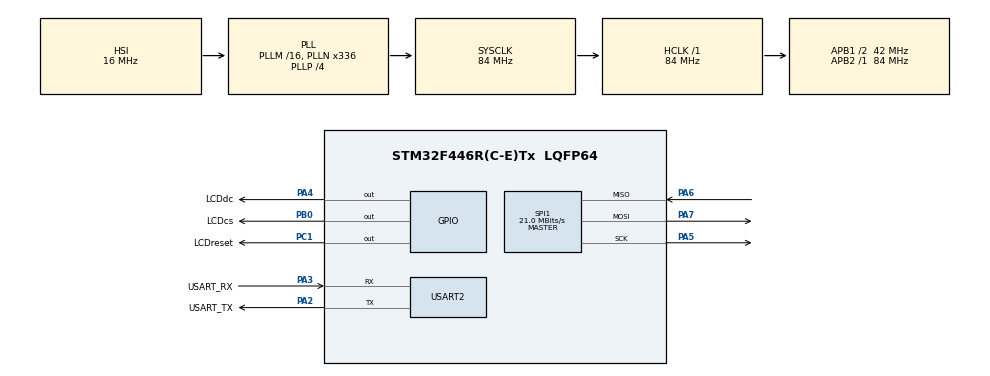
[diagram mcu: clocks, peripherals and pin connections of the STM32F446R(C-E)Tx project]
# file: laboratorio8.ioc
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Mcu.Family=STM32F4
Mcu.Name=STM32F446R(C-E)Tx
Mcu.Package=LQFP64
NVIC.PriorityGroup=NVIC_PRIORITYGROUP_0
PA13.GPIO_Label=TMS
PA13.Signal=SYS_JTMS-SWDIO
PA14.GPIO_Label=TCK
PA14.Signal=SYS_JTCK-SWCLK
PA2.GPIO_Label=USART_TX
PA2.Mode=Asynchronous
PA2.Signal=USART2_TX
PA3.GPIO_Label=USART_RX
PA3.Mode=Asynchronous
PA3.Signal=USART2_RX
PA4.GPIO_Label=LCDdc
PA4.Signal=GPIO_Output
PA5.Mode=Full_Duplex_Master
PA5.Signal=SPI1_SCK
PA6.Mode=Full_Duplex_Master
PA6.Signal=SPI1_MISO
PA7.Mode=Full_Duplex_Master
PA7.Signal=SPI1_MOSI
PB0.GPIO_Label=LCDcs
PB0.Signal=GPIO_Output
PB3.GPIO_Label=SWO
PB3.Signal=SYS_JTDO-SWO
PC1.GPIO_Label=LCDreset
PC1.Signal=GPIO_Output
PC14-OSC32_IN.Signal=RCC_OSC32_IN
PC15-OSC32_OUT.Signal=RCC_OSC32_OUT
PH0-OSC_IN.Signal=RCC_OSC_IN
PH1-OSC_OUT.Signal=RCC_OSC_OUT
ProjectManager.HeapSize=0x200
ProjectManager.StackSize=0x400
ProjectManager.TargetToolchain=STM32CubeIDE
RCC.AHBFreq_Value=84000000
RCC.APB1CLKDivider=RCC_HCLK_DIV2
RCC.APB1Freq_Value=42000000
RCC.APB1TimFreq_Value=84000000
RCC.APB2Freq_Value=84000000
RCC.APB2TimFreq_Value=84000000
RCC.CortexFreq_Value=84000000
RCC.FLatency-AdvancedSettings=FLASH_LATENCY_2
RCC.HCLKFreq_Value=84000000
RCC.HSE_VALUE=8000000
RCC.HSI_VALUE=16000000
RCC.LSE_VALUE=32768
RCC.PLLN=336
RCC.PLLP=RCC_PLLP_DIV4
RCC.SYSCLKFreq_VALUE=84000000
RCC.SYSCLKSource=RCC_SYSCLKSOURCE_PLLCLK
RCC.USBFreq_Value=168000000
RCC.VCOOutputFreq_Value=336000000
SPI1.BaudRatePrescaler=SPI_BAUDRATEPRESCALER_4
SPI1.CalculateBaudRate=21.0 MBits/s
SPI1.Direction=SPI_DIRECTION_2LINES
SPI1.Mode=SPI_MODE_MASTER
SPI1.VirtualType=VM_MASTER
USART2.VirtualMode=VM_ASYNC
board=NUCLEO-F446RE

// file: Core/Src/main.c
/* USER CODE BEGIN Header */
/**
  ******************************************************************************
  * @file           : main.c
  * @brief          : Lab 8 - Pantalla TFT ILI9341 (SPI) - Termometro / EOG / Ritmo cardiaco
  ******************************************************************************
  */
/* USER CODE END Header */
#include "main.h"

/* USER CODE BEGIN Includes */
#include "ili9341.h"
#include <stdio.h>
/* USER CODE END Includes */

/* USER CODE BEGIN PD */
/* Que pantalla mostrar: 0 = ciclo automatico de las 3, 1 = termometro, 2 = EOG, 3 = ritmo cardiaco */
#define UI_MODE 0
/* USER CODE END PD */

SPI_HandleTypeDef hspi1;

UART_HandleTypeDef huart2;

/* USER CODE BEGIN PV */
/* Bitmaps 16x16 1bpp (bit15 = columna izquierda) */
static const uint16_t bmp_heart[16] = {
  0x0000,0x0C30,0x1E78,0x3FFC,0x7FFE,0x7FFE,0x7FFE,0x7FFE,
  0x3FFC,0x1FF8,0x0FF0,0x07E0,0x03C0,0x0180,0x0000,0x0000
};
static const uint16_t bmp_thermo[16] = {
  0x0180,0x03C0,0x03C0,0x03C0,0x03C0,0x03C0,0x03C0,0x03C0,
  0x03C0,0x03C0,0x07E0,0x0FF0,0x0FF0,0x0FF0,0x07E0,0x03C0
};
static const uint16_t bmp_eye[16] = {
  0x0000,0x0000,0x07E0,0x0FF0,0x1FF8,0x3E7C,0x7C3E,0xF81F,
  0xF81F,0x7C3E,0x3E7C,0x1FF8,0x0FF0,0x07E0,0x0000,0x0000
};

/* Un latido PQRST: 38 muestras de 2 px (desplazamiento vertical respecto a la linea base) */
static const int8_t ecg_beat[38] = {
  0,0,0,0,-3,-6,-6,-3,0,0,0,
  4,-30,-44,12,0,0,0,0,0,
  -3,-6,-9,-11,-11,-9,-6,-3,0,0,0,0,0,0,0,0,0,0
};
/* USER CODE END PV */

void SystemClock_Config(void);
static void MX_GPIO_Init(void);
static void MX_SPI1_Init(void);
static void MX_USART2_UART_Init(void);
/* USER CODE BEGIN PFP */
static void Draw_Thermometer(uint16_t t10);              /* t10 = temperatura x10 (368 = 36.8 C) */
static void Draw_EOG(uint16_t ppm, uint8_t comprension);
static void Draw_HeartRate(uint16_t bpm);
/* USER CODE END PFP */

/* USER CODE BEGIN 0 */

/* Texto centrado horizontalmente en [x, x+w) */
static void text_centered(uint16_t x, uint16_t w, uint16_t y, const char *s, uint8_t sc, uint16_t fg, uint16_t bg)
{
    uint16_t tw = ILI9341_StringWidth(s, sc) - sc;
    ILI9341_DrawString(x + (w - tw) / 2, y, s, sc, fg, bg);
}

/* Segmento vertical de 2 px de ancho entre dos alturas (para dibujar ondas) */
static void plot_sample(uint16_t x, int16_t y0, int16_t y1, uint16_t col)
{
    int16_t a = (y0 < y1) ? y0 : y1;
    int16_t b = (y0 < y1) ? y1 : y0;
    ILI9341_FillRect(x, a, 2, b - a + 2, col);
}

/* Cuadricula de fondo para las zonas de ondas */
static void draw_grid(uint16_t x, uint16_t y, uint16_t w, uint16_t h, uint16_t col)
{
    for (uint16_t gx = x + 20; gx < x + w; gx += 20) ILI9341_FillRect(gx, y, 1, h, col);
    for (uint16_t gy = y + 20; gy < y + h; gy += 20) ILI9341_FillRect(x, gy, w, 1, col);
}

/* ===================== 1) TERMOMETRO DIGITAL ===================== */
#define TEMP_X(t10)  (16 + (((int32_t)(t10) - 340) * 288) / 80)   /* 34.0..42.0 C -> x 16..304 */

static void Draw_Thermometer(uint16_t t10)
{
    char buf[12];
    const uint16_t TEAL   = RGB565(0, 150, 136);
    const uint16_t PANEL  = RGB565(0, 40, 50);
    const uint16_t ORANGE = RGB565(255, 90, 40);

    if (t10 < 340) t10 = 340;
    if (t10 > 420) t10 = 420;

    ILI9341_FillScreen(COL_BG);

    /* Barra de titulo */
    ILI9341_FillRect(8, 8, 304, 36, TEAL);
    ILI9341_DrawBitmap1bpp16(16, 14, bmp_thermo, 2, COL_WHITE);
    ILI9341_DrawString(62, 16, "TERMOMETRO", 3, COL_WHITE, TEAL);

    /* ---- Panel izquierdo: termometro vertical ---- */
    ILI9341_FillRect(8, 54, 90, 130, PANEL);
    ILI9341_DrawRoundRect(8, 54, 90, 130, 3, TEAL);
    ILI9341_FillRect(43, 60, 24, 76, COL_WHITE);          /* tubo */
    ILI9341_FillRect(46, 63, 18, 70, 0x2104);             /* interior del tubo */
    ILI9341_FillRect(33, 136, 44, 40, COL_WHITE);         /* bulbo */
    ILI9341_FillRect(36, 139, 38, 34, ORANGE);
    uint16_t h = ((uint32_t)(t10 - 340) * 70) / 80;       /* altura del liquido */
    ILI9341_FillRect(46, 133 - h, 18, h + 8, ORANGE);     /* liquido + union con el bulbo */
    /* marcas de escala 35, 37, 39, 41 */
    for (uint8_t i = 0; i < 4; i++) {
        uint8_t deg = 35 + i * 2;
        uint16_t ty = 133 - ((deg - 34) * 35) / 4;        /* 8.75 px por grado */
        ILI9341_FillRect(70, ty, 8, 2, COL_WHITE);
        sprintf(buf, "%u", deg);
        ILI9341_DrawString(80, ty - 3, buf, 1, COL_WHITE, PANEL);
    }

    /* ---- Panel derecho: valor ---- */
    ILI9341_FillRect(106, 54, 206, 130, PANEL);
    ILI9341_DrawRoundRect(106, 54, 206, 130, 3, TEAL);
    ILI9341_DrawString(116, 64, "TEMPERATURA", 2, TEAL, PANEL);
    sprintf(buf, "%u.%u", t10 / 10, t10 % 10);
    ILI9341_DrawString(116, 92, buf, 6, COL_WHITE, PANEL);
    ILI9341_DrawRect(264, 98, 8, 8, 2, COL_WHITE);        /* simbolo de grado */
    ILI9341_DrawString(276, 100, "C", 4, COL_WHITE, PANEL);

    /* Estado segun el valor */
    const char *txt; uint16_t col;
    if      (t10 < 361) { txt = "BAJA";    col = COL_CYAN;   }
    else if (t10 < 373) { txt = "NORMAL";  col = COL_GREEN;  }
    else if (t10 < 380) { txt = "ELEVADA"; col = COL_YELLOW; }
    else                { txt = "FIEBRE";  col = COL_RED;    }
    ILI9341_FillRect(116, 148, 186, 28, col);
    text_centered(116, 186, 154, txt, 2, COL_BLACK, col);

    /* ---- Barra inferior con zonas y marcador ---- */
    ILI9341_FillRect(8, 194, 304, 38, PANEL);
    ILI9341_DrawRoundRect(8, 194, 304, 38, 2, TEAL);
    ILI9341_FillRect(TEMP_X(340), 206, TEMP_X(361) - TEMP_X(340), 12, COL_CYAN);
    ILI9341_FillRect(TEMP_X(361), 206, TEMP_X(373) - TEMP_X(361), 12, COL_GREEN);
    ILI9341_FillRect(TEMP_X(373), 206, TEMP_X(380) - TEMP_X(373), 12, COL_YELLOW);
    ILI9341_FillRect(TEMP_X(380), 206, TEMP_X(420) - TEMP_X(380), 12, COL_RED);
    ILI9341_FillRect(TEMP_X(t10) - 2, 199, 4, 22, COL_WHITE);
    ILI9341_DrawString(16, 222, "34", 1, COL_WHITE, PANEL);
    ILI9341_DrawString(292, 222, "42", 1, COL_WHITE, PANEL);
}

/* ===================== 2) EOG (ELECTROOCULOGRAFIA) ===================== */
static void Draw_EOG(uint16_t ppm, uint8_t comprension)
{
    char buf[8];
    const uint16_t PURPLE = RGB565(110, 50, 180);
    const uint16_t PANEL  = RGB565(25, 15, 45);

    ILI9341_FillScreen(COL_BG);

    /* Barra de titulo */
    ILI9341_FillRect(8, 8, 304, 36, PURPLE);
    ILI9341_DrawBitmap1bpp16(16, 14, bmp_eye, 2, COL_WHITE);
    ILI9341_DrawString(62, 16, "EOG", 3, COL_WHITE, PURPLE);
    ILI9341_DrawString(160, 20, "LECTURA", 2, COL_CYAN, PURPLE);

    /* ---- Senal EOG: escalera de fijaciones y barrido de retorno ---- */
    ILI9341_FillRect(8, 54, 304, 76, COL_BLACK);
    draw_grid(8, 54, 304, 76, 0x0320);
    ILI9341_DrawRect(8, 54, 304, 76, 2, PURPLE);
    ILI9341_DrawString(14, 58, "CANAL H", 1, COL_CYAN, COL_BLACK);
    int16_t prev = 124;
    for (uint16_t i = 0; i < 148; i++) {
        uint16_t phase = i % 37;
        int16_t y = 124 - (phase / 6) * 9;
        plot_sample(10 + i * 2, prev, y, COL_GREEN);
        prev = y;
    }

    /* ---- Panel velocidad de lectura ---- */
    ILI9341_FillRect(8, 138, 150, 94, PANEL);
    ILI9341_DrawRoundRect(8, 138, 150, 94, 3, COL_CYAN);
    ILI9341_DrawString(18, 148, "VELOCIDAD", 2, COL_CYAN, PANEL);
    sprintf(buf, "%u", ppm);
    ILI9341_DrawString(18, 174, buf, 5, COL_WHITE, PANEL);
    ILI9341_DrawString(112, 192, "PPM", 2, COL_WHITE, PANEL);

    /* ---- Panel comprension ---- */
    ILI9341_FillRect(162, 138, 150, 94, PANEL);
    ILI9341_DrawRoundRect(162, 138, 150, 94, 3, COL_YELLOW);
    ILI9341_DrawString(170, 148, "COMPRENSION", 2, COL_YELLOW, PANEL);
    sprintf(buf, "%u", comprension);
    ILI9341_DrawString(172, 172, buf, 5, COL_WHITE, PANEL);
    ILI9341_DrawString(240, 176, "%", 4, COL_WHITE, PANEL);
    ILI9341_FillRect(172, 216, 130, 8, 0x2104);
    ILI9341_FillRect(172, 216, (130 * comprension) / 100, 8, COL_GREEN);
}

/* ===================== 3) RITMO CARDIACO ===================== */
static void Draw_HeartRate(uint16_t bpm)
{
    char buf[8];
    const uint16_t DARKRED = RGB565(130, 15, 25);
    const uint16_t PANEL   = 0x2000;

    ILI9341_FillScreen(COL_BG);

    /* Barra de titulo */
    ILI9341_FillRect(8, 8, 304, 36, DARKRED);
    ILI9341_DrawBitmap1bpp16(16, 14, bmp_heart, 2, COL_WHITE);
    ILI9341_DrawString(56, 16, "RITMO CARDIACO", 3, COL_WHITE, DARKRED);

    /* ---- ECG ---- */
    ILI9341_FillRect(8, 54, 304, 80, COL_BLACK);
    draw_grid(8, 54, 304, 80, 0x0320);
    ILI9341_DrawRect(8, 54, 304, 80, 2, COL_RED);
    int16_t prev = 112;
    for (uint16_t i = 0; i < 148; i++) {
        int16_t y = 112 + ecg_beat[i % 38];
        plot_sample(10 + i * 2, prev, y, COL_GREEN);
        prev = y;
    }

    /* ---- Panel principal ---- */
    ILI9341_FillRect(8, 142, 304, 90, PANEL);
    ILI9341_DrawRoundRect(8, 142, 304, 90, 3, COL_RED);
    ILI9341_DrawBitmap1bpp16(18, 150, bmp_heart, 5, COL_RED);
    sprintf(buf, "%u", bpm);
    ILI9341_DrawString(110, 150, buf, 8, COL_WHITE, PANEL);
    ILI9341_DrawString(206, 160, "BPM", 3, COL_WHITE, PANEL);

    const char *txt; uint16_t col;
    if      (bpm < 60)   { txt = "BRADICARDIA";  col = COL_CYAN;   }
    else if (bpm <= 100) { txt = "NORMAL";       col = COL_GREEN;  }
    else                 { txt = "TAQUICARDIA";  col = COL_YELLOW; }
    ILI9341_FillRect(206, 196, 98, 26, col);
    text_centered(206, 98, 202, txt, (bpm >= 60 && bpm <= 100) ? 2 : 1, COL_BLACK, col);
}
/* USER CODE END 0 */

int main(void)
{

  /* MCU Configuration--------------------------------------------------------*/

  /* Reset of all peripherals, Initializes the Flash interface and the Systick. */
  HAL_Init();

  /* Configure the system clock */
  SystemClock_Config();

  /* Initialize all configured peripherals */
  MX_GPIO_Init();
  MX_SPI1_Init();
  MX_USART2_UART_Init();
  /* USER CODE BEGIN 2 */
  ILI9341_Init();
#if   UI_MODE == 1
  Draw_Thermometer(368);
#elif UI_MODE == 2
  Draw_EOG(238, 85);
#elif UI_MODE == 3
  Draw_HeartRate(72);
#endif
  /* USER CODE END 2 */

  /* Infinite loop */
  while (1)
  {

    /* USER CODE BEGIN 3 */
#if UI_MODE == 0
    Draw_Thermometer(368);   HAL_Delay(4000);
    Draw_EOG(238, 85);       HAL_Delay(4000);
    Draw_HeartRate(72);      HAL_Delay(4000);
#endif
  }
  /* USER CODE END 3 */
}

void SystemClock_Config(void)
{
  RCC_OscInitTypeDef RCC_OscInitStruct = {0};
  RCC_ClkInitTypeDef RCC_ClkInitStruct = {0};

  /** Configure the main internal regulator output voltage
  */
  __HAL_RCC_PWR_CLK_ENABLE();
  __HAL_PWR_VOLTAGESCALING_CONFIG(PWR_REGULATOR_VOLTAGE_SCALE3);

  /** Initializes the RCC Oscillators according to the specified parameters
  * in the RCC_OscInitTypeDef structure.
  */
  RCC_OscInitStruct.OscillatorType = RCC_OSCILLATORTYPE_HSI;
  RCC_OscInitStruct.HSIState = RCC_HSI_ON;
  RCC_OscInitStruct.HSICalibrationValue = RCC_HSICALIBRATION_DEFAULT;
  RCC_OscInitStruct.PLL.PLLState = RCC_PLL_ON;
  RCC_OscInitStruct.PLL.PLLSource = RCC_PLLSOURCE_HSI;
  RCC_OscInitStruct.PLL.PLLM = 16;
  RCC_OscInitStruct.PLL.PLLN = 336;
  RCC_OscInitStruct.PLL.PLLP = RCC_PLLP_DIV4;
  RCC_OscInitStruct.PLL.PLLQ = 2;
  RCC_OscInitStruct.PLL.PLLR = 2;
  if (HAL_RCC_OscConfig(&RCC_OscInitStruct) != HAL_OK)
  {
    Error_Handler();
  }

  /** Initializes the CPU, AHB and APB buses clocks
  */
  RCC_ClkInitStruct.ClockType = RCC_CLOCKTYPE_HCLK|RCC_CLOCKTYPE_SYSCLK
                              |RCC_CLOCKTYPE_PCLK1|RCC_CLOCKTYPE_PCLK2;
  RCC_ClkInitStruct.SYSCLKSource = RCC_SYSCLKSOURCE_PLLCLK;
  RCC_ClkInitStruct.AHBCLKDivider = RCC_SYSCLK_DIV1;
  RCC_ClkInitStruct.APB1CLKDivider = RCC_HCLK_DIV2;
  RCC_ClkInitStruct.APB2CLKDivider = RCC_HCLK_DIV1;

  if (HAL_RCC_ClockConfig(&RCC_ClkInitStruct, FLASH_LATENCY_2) != HAL_OK)
  {
    Error_Handler();
  }
}

static void MX_SPI1_Init(void)
{

  /* SPI1 parameter configuration*/
  hspi1.Instance = SPI1;
  hspi1.Init.Mode = SPI_MODE_MASTER;
  hspi1.Init.Direction = SPI_DIRECTION_2LINES;
  hspi1.Init.DataSize = SPI_DATASIZE_8BIT;
  hspi1.Init.CLKPolarity = SPI_POLARITY_LOW;
  hspi1.Init.CLKPhase = SPI_PHASE_1EDGE;
  hspi1.Init.NSS = SPI_NSS_SOFT;
  hspi1.Init.BaudRatePrescaler = SPI_BAUDRATEPRESCALER_4;
  hspi1.Init.FirstBit = SPI_FIRSTBIT_MSB;
  hspi1.Init.TIMode = SPI_TIMODE_DISABLE;
  hspi1.Init.CRCCalculation = SPI_CRCCALCULATION_DISABLE;
  hspi1.Init.CRCPolynomial = 10;
  if (HAL_SPI_Init(&hspi1) != HAL_OK)
  {
    Error_Handler();
  }

}

static void MX_USART2_UART_Init(void)
{

  huart2.Instance = USART2;
  huart2.Init.BaudRate = 115200;
  huart2.Init.WordLength = UART_WORDLENGTH_8B;
  huart2.Init.StopBits = UART_STOPBITS_1;
  huart2.Init.Parity = UART_PARITY_NONE;
  huart2.Init.Mode = UART_MODE_TX_RX;
  huart2.Init.HwFlowCtl = UART_HWCONTROL_NONE;
  huart2.Init.OverSampling = UART_OVERSAMPLING_16;
  if (HAL_UART_Init(&huart2) != HAL_OK)
  {
    Error_Handler();
  }

}

static void MX_GPIO_Init(void)
{
  GPIO_InitTypeDef GPIO_InitStruct = {0};

  /* GPIO Ports Clock Enable */
  __HAL_RCC_GPIOC_CLK_ENABLE();
  __HAL_RCC_GPIOH_CLK_ENABLE();
  __HAL_RCC_GPIOA_CLK_ENABLE();
  __HAL_RCC_GPIOB_CLK_ENABLE();

  /*Configure GPIO pin Output Level */
  HAL_GPIO_WritePin(LCDreset_GPIO_Port, LCDreset_Pin, GPIO_PIN_RESET);

  /*Configure GPIO pin Output Level */
  HAL_GPIO_WritePin(LCDdc_GPIO_Port, LCDdc_Pin, GPIO_PIN_RESET);

  /*Configure GPIO pin Output Level */
  HAL_GPIO_WritePin(LCDcs_GPIO_Port, LCDcs_Pin, GPIO_PIN_RESET);

  /*Configure GPIO pin : LCDreset_Pin */
  GPIO_InitStruct.Pin = LCDreset_Pin;
  GPIO_InitStruct.Mode = GPIO_MODE_OUTPUT_PP;
  GPIO_InitStruct.Pull = GPIO_NOPULL;
  GPIO_InitStruct.Speed = GPIO_SPEED_FREQ_LOW;
  HAL_GPIO_Init(LCDreset_GPIO_Port, &GPIO_InitStruct);

  /*Configure GPIO pin : LCDdc_Pin */
  GPIO_InitStruct.Pin = LCDdc_Pin;
  GPIO_InitStruct.Mode = GPIO_MODE_OUTPUT_PP;
  GPIO_InitStruct.Pull = GPIO_NOPULL;
  GPIO_InitStruct.Speed = GPIO_SPEED_FREQ_LOW;
  HAL_GPIO_Init(LCDdc_GPIO_Port, &GPIO_InitStruct);

  /*Configure GPIO pin : LCDcs_Pin */
  GPIO_InitStruct.Pin = LCDcs_Pin;
  GPIO_InitStruct.Mode = GPIO_MODE_OUTPUT_PP;
  GPIO_InitStruct.Pull = GPIO_NOPULL;
  GPIO_InitStruct.Speed = GPIO_SPEED_FREQ_LOW;
  HAL_GPIO_Init(LCDcs_GPIO_Port, &GPIO_InitStruct);

}

void Error_Handler(void)
{
  __disable_irq();
  while (1)
  {
  }
}
